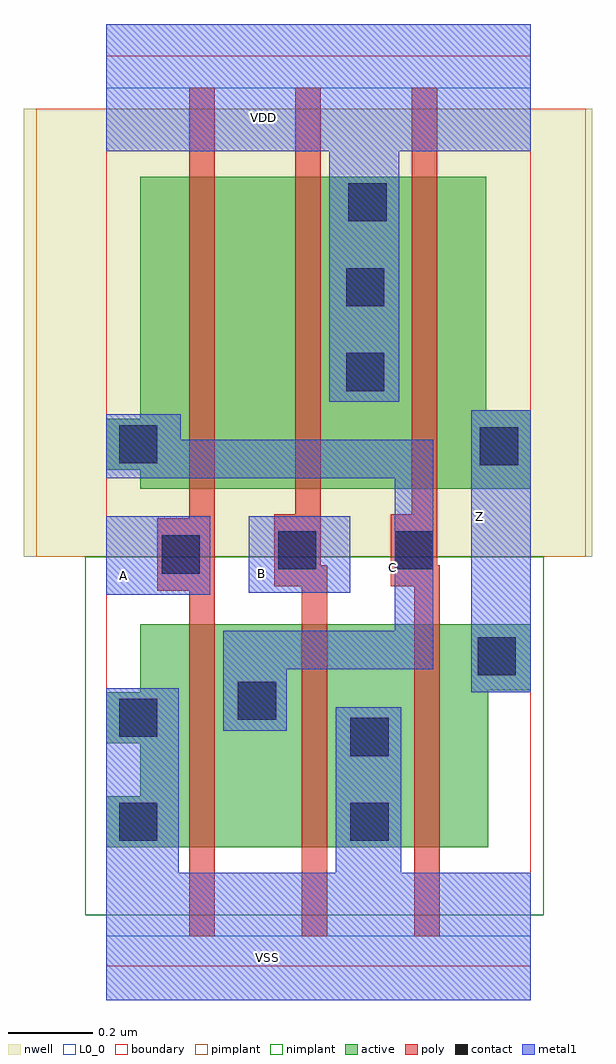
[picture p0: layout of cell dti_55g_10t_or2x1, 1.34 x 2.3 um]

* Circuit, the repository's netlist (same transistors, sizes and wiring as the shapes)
*##########################################################################################
* Copyright (c) 2023 Dolphin Technology, Inc.
* This netlist is proprietary and confidential information of
* Dolphin Technology, Inc. and can only be used or viewed
* under license or with written permission from Dolphin Technology, Inc.
*##########################################################################################
* /data/projects/stdcells/scripts_svn_update_flow/Update_property_flow/lvsNetlist.pl -c dti_55g_10t_or2x1 -p /data/projects/stdcells/scripts_svn_update_flow/Update_property_flow/params/params55.sp -s netlist -d lvs -nglob
* dt35-linux:/data/projects/stdcells/REPOSITORY_RV003/ckt/tsmc55 
* dti_55g_10t_or2x1.ckt generated on 6/5/2023 at 11:0:11
*##########################################################################################
* Dependencies
*##########################################################################################

.param wnd=1u wpd=1u

.option scale=1

.global vdd vss vddps vddcs
* DAMN, don't know where the cell is 
.subckt dti_55g_10t_or2x1 VDD VSS Z A B
mp2 N1N47 A N1N71 VDD pch l=0.06u w=0.735u
mp1 Z N1N47 VDD VDD pch l=0.06u w=0.735u
mn1 Z N1N47 VSS VSS nch l=0.06u w=0.525u
mn2 N1N47 A VSS VSS nch l=0.06u w=0.525u
mp3 N1N71 B VDD VDD pch l=0.06u w=0.735u
mn3 N1N47 B VSS VSS nch l=0.06u w=0.525u
.ends

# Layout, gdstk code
from math import pi, radians
import gdstk
lib = gdstk.Library(unit=1e-6, precision=1e-09)
def R(c, l, rs):  # rectangles x0, y0, x1, y1
    for r in rs: c.add(gdstk.rectangle(r[:2], r[2:], *l))
def A(c, l, x, y, w, h, nx, ny, dx, dy):  # array of equal rectangles
    R(c, l, [(x+i*dx, y+j*dy, x+i*dx+w, y+j*dy+h) for i in range(nx) for j in range(ny)])
L0_0 = (0, 0)
nwell = (3, 0)
active = (6, 0)
poly = (17, 0)
pimplant = (25, 0)
nimplant = (26, 0)
contact = (30, 0)
metal1 = (31, 0)
boundary = (108, 0)
L923_0 = (923, 0)

template_55g_10t = lib.new_cell('template_55g_10t')
R(template_55g_10t, metal1, [(0,-0.15,0.2,0.15), (0,1.85,0.2,2.15)])
template_55g_10t.add(gdstk.FlexPath([(0.2,0.21),(0,0.21)], 0, ends="flush", simple_path=True, layer=923, datatype=0))  # L923_0
template_55g_10t.add(gdstk.FlexPath([(0.2,0.735),(0,0.735)], 0, ends="flush", simple_path=True, layer=923, datatype=0))  # L923_0
template_55g_10t.add(gdstk.FlexPath([(0.2,0.895),(0,0.895)], 0, ends="flush", simple_path=True, layer=923, datatype=0))  # L923_0
template_55g_10t.add(gdstk.FlexPath([(0.2,1.055),(0,1.055)], 0, ends="flush", simple_path=True, layer=923, datatype=0))  # L923_0
template_55g_10t.add(gdstk.FlexPath([(0.2,1.79),(0,1.79)], 0, ends="flush", simple_path=True, layer=923, datatype=0))  # L923_0

cellgrid_nom2 = lib.new_cell('cellgrid_noM2')
R(cellgrid_nom2, L0_0, [(0,0,0.2,0.2)])
cellgrid_nom2.add(gdstk.FlexPath([(0.2,0),(0,0.2)], 0, ends="flush", simple_path=True, layer=0, datatype=0))  # L0_0
cellgrid_nom2.add(gdstk.FlexPath([(0.2,0.2),(0,0)], 0, ends="flush", simple_path=True, layer=0, datatype=0))  # L0_0

pmos_735_n_2 = lib.new_cell('pmos_735_n_2')
R(pmos_735_n_2, nwell, [(-0.275,-0.16,0.335,0.895)])
R(pmos_735_n_2, active, [(-0.115,0,0.175,0.735)])
R(pmos_735_n_2, poly, [(0,-0.14,0.06,0.875)])
R(pmos_735_n_2, pimplant, [(-0.245,-0.16,0.305,0.895)])

nmos_525_n_2 = lib.new_cell('nmos_525_n_2')
R(nmos_525_n_2, active, [(-0.115,0,0.175,0.525)])
R(nmos_525_n_2, poly, [(0,-0.14,0.06,0.665)])
R(nmos_525_n_2, nimplant, [(-0.245,-0.16,0.305,0.685)])

cnt_n = lib.new_cell('cnt_n')
R(cnt_n, active, [(-0.06,-0.075,0.06,0.075)])
R(cnt_n, contact, [(-0.045,-0.045,0.045,0.045)])
R(cnt_n, metal1, [(-0.045,-0.045,0.045,0.045)])

cnt = lib.new_cell('cnt')
R(cnt, contact, [(-0.045,-0.045,0.045,0.045)])
R(cnt, metal1, [(-0.045,-0.045,0.045,0.045)])

pcnt_v = lib.new_cell('pcnt_v')
R(pcnt_v, poly, [(-0.055,-0.085,0.055,0.085)])
pcnt_v.add(gdstk.Reference(cnt, (0,0)))

dti_55g_10t_or2x1 = lib.new_cell('dti_55g_10t_or2x1')
R(dti_55g_10t_or2x1, nwell, [(-0.195,0.895,1.145,1.95)])
R(dti_55g_10t_or2x1, active, [(0.895,0.58,1,0.735), (0.895,1.055,1,1.24)])
A(dti_55g_10t_or2x1, poly, 0.195, 0, 0.06, 0.07, 3, 1, 0.265, 0)
R(dti_55g_10t_or2x1, poly, [(0.195,0.875,0.255,0.915), (0.445,0.875,0.505,0.915), (0.72,0.875,0.78,0.915), (0.195,1.93,0.255,2), (0.445,1.93,0.505,2), (0.72,1.93,0.78,2)])
R(dti_55g_10t_or2x1, pimplant, [(-0.165,0.895,1.13,1.95)])
R(dti_55g_10t_or2x1, metal1, [(0,0.15,0.17,0.585), (0.54,0.15,0.695,0.54), (0.275,0.485,0.425,0.63), (0.86,0.575,1,1.24), (0.275,0.63,0.68,0.72), (0.68,0.63,0.77,0.82), (0,0.805,0.245,0.99), (0.335,0.81,0.575,0.99), (0.68,0.82,0.77,1.02), (0.68,1.02,0.77,1.11), (0,1.08,0.175,1.23), (0.175,1.08,0.77,1.17), (0,1.1,0.175,1.225), (0.525,1.26,0.69,1.85)])
R(dti_55g_10t_or2x1, boundary, [(0,-0.07,1,2.075)])
r = gdstk.Reference(template_55g_10t, (0,0)); r.repetition = gdstk.Repetition(5, 1, v1=(0.2,0), v2=(0,0)); dti_55g_10t_or2x1.add(r)
r = gdstk.Reference(cellgrid_nom2, (0,0)); r.repetition = gdstk.Repetition(5, 10, v1=(0.2,0), v2=(0,0.2)); dti_55g_10t_or2x1.add(r)
dti_55g_10t_or2x1.add(gdstk.Reference(pmos_735_n_2, (0.195,1.055)))
dti_55g_10t_or2x1.add(gdstk.Reference(pmos_735_n_2, (0.445,1.055)))
dti_55g_10t_or2x1.add(gdstk.Reference(pmos_735_n_2, (0.72,1.055)))
dti_55g_10t_or2x1.add(gdstk.Reference(nmos_525_n_2, (0.195,0.21)))
dti_55g_10t_or2x1.add(gdstk.Reference(nmos_525_n_2, (0.46,0.21)))
dti_55g_10t_or2x1.add(gdstk.Reference(nmos_525_n_2, (0.725,0.21)))
dti_55g_10t_or2x1.add(gdstk.Reference(cnt_n, (0.075,0.27), rotation=pi/2))
dti_55g_10t_or2x1.add(gdstk.Reference(cnt_n, (0.075,0.515), rotation=pi/2))
dti_55g_10t_or2x1.add(gdstk.Reference(pcnt_v, (0.725,0.91)))
dti_55g_10t_or2x1.add(gdstk.Reference(cnt, (0.355,0.555)))
dti_55g_10t_or2x1.add(gdstk.Reference(cnt_n, (0.075,1.16), rotation=pi/2))
dti_55g_10t_or2x1.add(gdstk.Reference(pcnt_v, (0.175,0.9), rotation=pi))
dti_55g_10t_or2x1.add(gdstk.Reference(pcnt_v, (0.45,0.91)))
dti_55g_10t_or2x1.add(gdstk.Reference(cnt_n, (0.615,1.73), rotation=pi/2))
dti_55g_10t_or2x1.add(gdstk.Reference(cnt_n, (0.61,1.53), rotation=pi/2))
dti_55g_10t_or2x1.add(gdstk.Reference(cnt_n, (0.61,1.33), rotation=pi/2))
dti_55g_10t_or2x1.add(gdstk.Reference(cnt_n, (0.62,0.27), rotation=3*pi/2))
dti_55g_10t_or2x1.add(gdstk.Reference(cnt_n, (0.62,0.47), rotation=3*pi/2))
dti_55g_10t_or2x1.add(gdstk.Reference(cnt_n, (0.925,1.155), rotation=3*pi/2))
dti_55g_10t_or2x1.add(gdstk.Reference(cnt_n, (0.92,0.66), rotation=3*pi/2))
dti_55g_10t_or2x1.add(gdstk.Label('C', (0.675,0.87), layer=131, texttype=0))
dti_55g_10t_or2x1.add(gdstk.Label('Z', (0.88,0.99), layer=131, texttype=0))
dti_55g_10t_or2x1.add(gdstk.Label('VDD', (0.37,1.93), layer=131, texttype=0))
dti_55g_10t_or2x1.add(gdstk.Label('VSS', (0.38,-0.05), layer=131, texttype=0))
dti_55g_10t_or2x1.add(gdstk.Label('B', (0.365,0.855), layer=131, texttype=0))
dti_55g_10t_or2x1.add(gdstk.Label('A', (0.04,0.85), layer=131, texttype=0))

lib.write_gds('dti_55g_10t_or2x1.gds')
